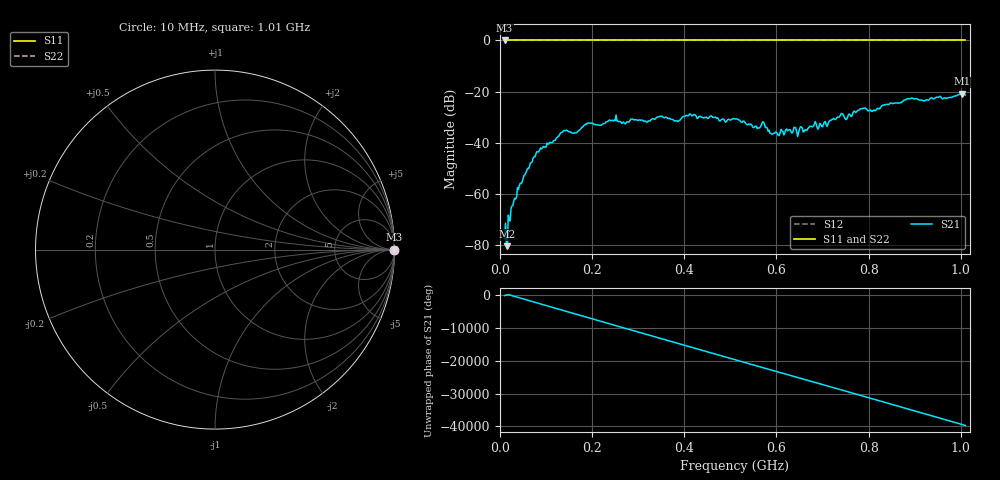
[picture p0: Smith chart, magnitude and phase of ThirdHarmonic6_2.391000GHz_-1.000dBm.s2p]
! 8/17/2025 3:52:48 AM
! C:\ANRITSUVNA\TEMP\TEMP.S2P
! CHANNEL.1
! TR.MEASUREMENT
! RAW.DATA
! RF.CORRECTION.OFF
! AVERAGING.OFF
! IF.BANDWIDTH: 5KHZ
! SWEEPTYPE:  FREQ.SWEEP(Linear)
! Reference Plane Port Info
! PORT:  PORT1  PORT2
! DISTANCE:  0  m  0  m
! TIME:  0  s  0  s
! PHASE.OFFSET:  0  deg.  0  deg.
! LOSS:  0  dB  0  dB
! REF.LOSS:  0  dB  0  dB
! REF.FREQ:  0  Hz  0  Hz
! Power Info
! POWER:  -20  dBm  -20  dBm
! EFF.POWER:  -20  dBm  -20  dBm
! SOURCE.ATTEN:  0  dB  0  dB
! TEST.ATTEN:  0  dB  0  dB
# GHZ S RI R 50.0
! FREQ.GHZ  S11RE  S11IM  S21RE  S21IM  S12RE  S12IM  S22RE  S22IM
!; PortSelection: Port_12
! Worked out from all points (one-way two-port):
!   501 points, 10 MHz to 1.01 GHz, reference 50 ohm
!   highest |S21| = -20.76 dB at 1.002 GHz (marker M1); lowest = -80.4 dB at 16 MHz (marker M2)
!   lowest |S11| = 0.0 dB at 10 MHz (marker M3)
!   |S11| at or under -10 dB: nowhere
!   |S22| runs from 0.0 to 0.0 dB; largest |S21 - S12| = 1.1
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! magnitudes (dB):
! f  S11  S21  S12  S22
! 10 MHz  0.0  -77.5  0.0  0.0
! 12 MHz  0.0  -71.5  0.0  0.0
! 16 MHz  0.0  -80.4  0.0  0.0
! 18 MHz  0.0  -68.3  0.0  0.0
! 22 MHz  0.0  -70.6  0.0  0.0
! 28 MHz  0.0  -64.5  0.0  0.0
! 42 MHz  0.0  -56.6  0.0  0.0
! 76 MHz  0.0  -45.5  0.0  0.0
! 136 MHz  0.0  -35.8  0.0  0.0
! 162 MHz  0.0  -36.2  0.0  0.0
! 178 MHz  0.0  -33.9  0.0  0.0
! 344 MHz  0.0  -29.8  0.0  0.0
! 382 MHz  0.0  -31.4  0.0  0.0
! 416 MHz  0.0  -29.4  0.0  0.0
! 510 MHz  0.0  -30.7  0.0  0.0
! 560 MHz  0.0  -34.2  0.0  0.0
! 572 MHz  0.0  -32.0  0.0  0.0
! 590 MHz  0.0  -36.6  0.0  0.0
! 678 MHz  0.0  -33.8  0.0  0.0
! 844 MHz  0.0  -25.0  0.0  0.0
! 1.002 GHz  0.0  -20.8  0.0  0.0
! 1.01 GHz  0.0  -21.3  0.0  0.0
